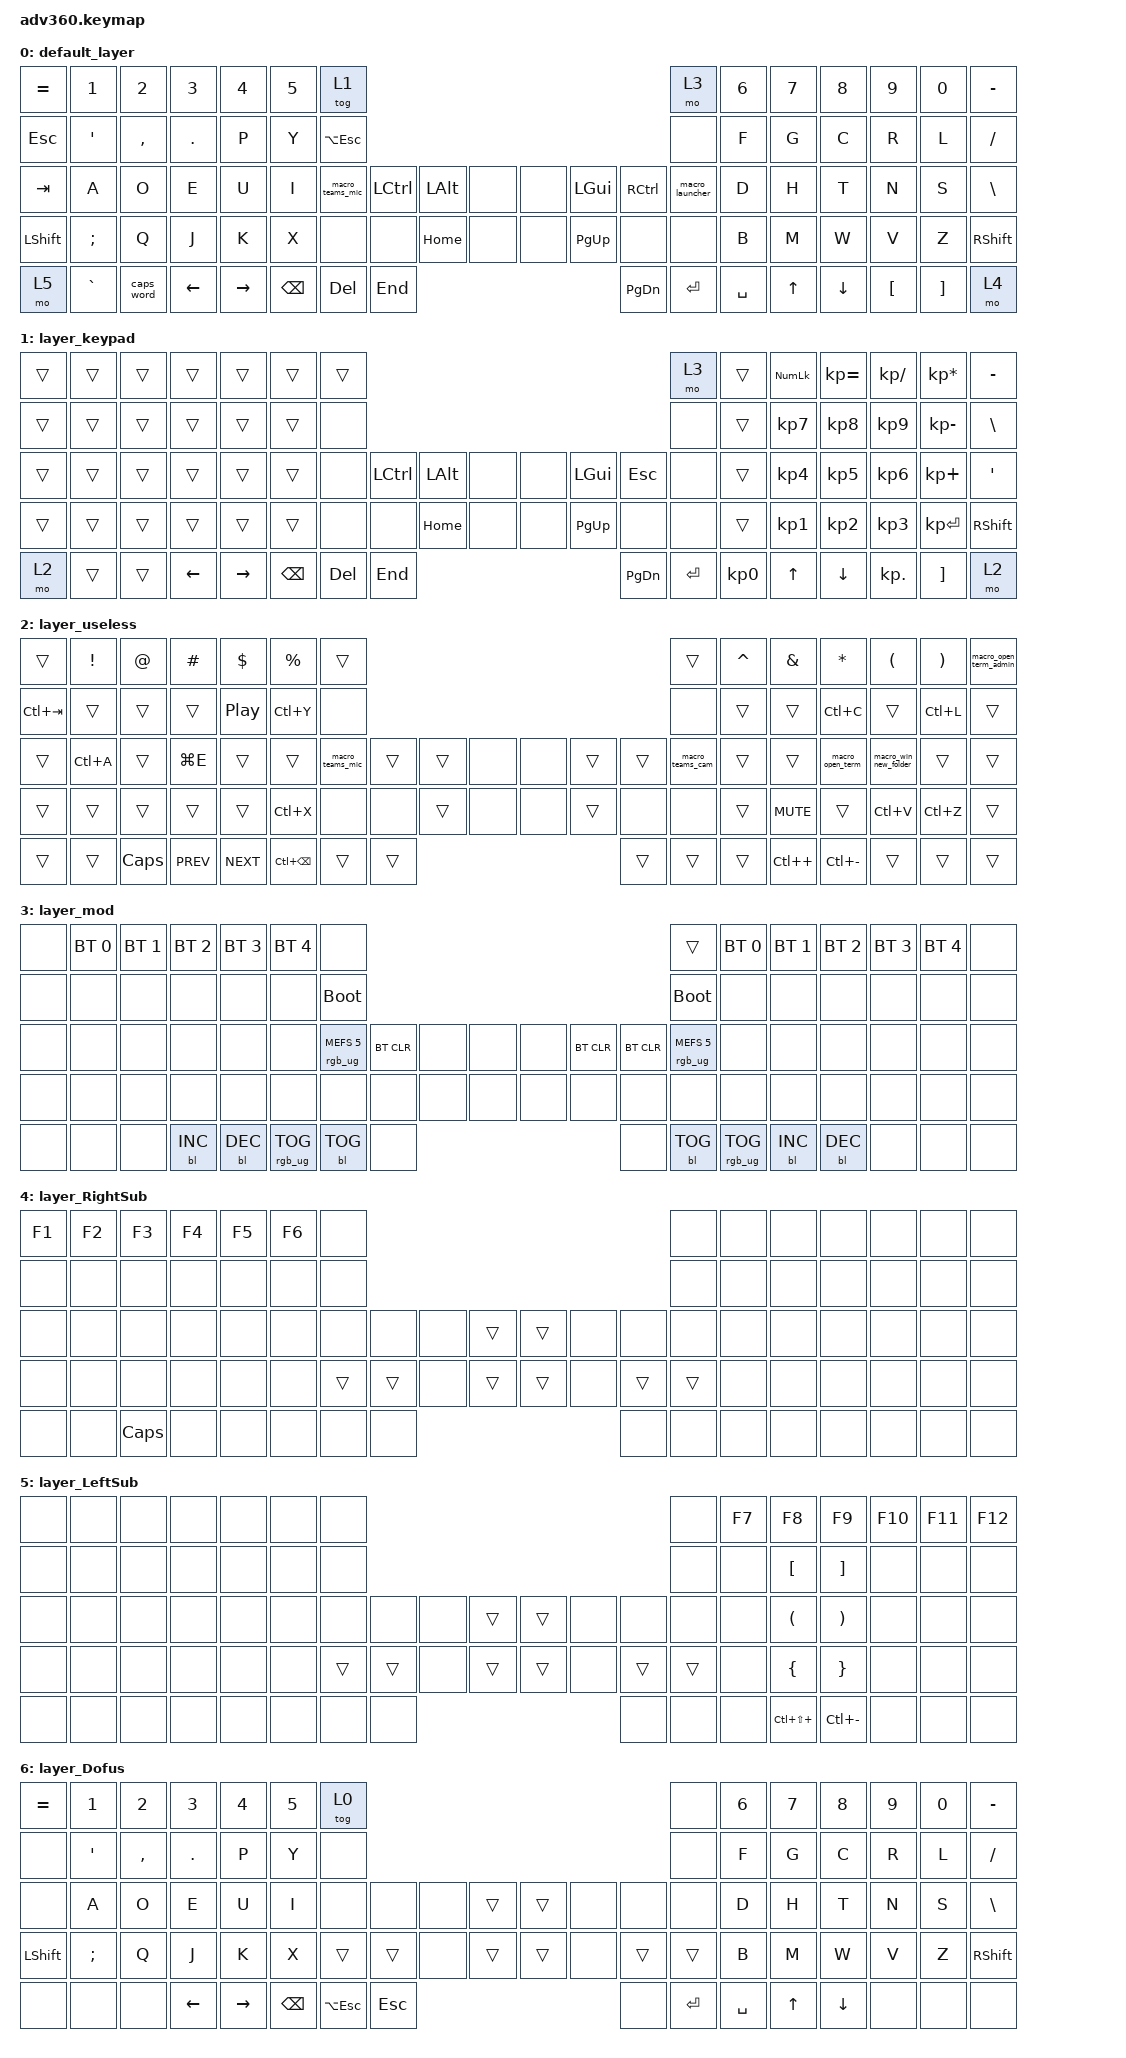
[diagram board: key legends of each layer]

/*
 * Copyright (c) 2020 The ZMK Contributors
 *
 * SPDX-License-Identifier: MIT
 */


/* THIS FILE WAS GENERATED!
 *
 * This file was generated automatically. You may or may not want to
 * edit it directly.
 */

#include <behaviors.dtsi>
#include <dt-bindings/zmk/keys.h>
#include <dt-bindings/zmk/bt.h>
#include <dt-bindings/zmk/rgb.h>
#include <dt-bindings/zmk/backlight.h>

/ {
  behaviors {
    #include "macros.dtsi"

    hm: homerow_mods {
        compatible = "zmk,behavior-hold-tap";
        label = "HOMEROW_MODS";
        #binding-cells = <2>;
        tapping-term-ms = <200>;
        quick_tap_ms = <175>;
        flavor = "tap-preferred";
        bindings = <&kp>, <&kp>;
    };
  };

    keymap {
        compatible = "zmk,keymap";


        default_layer {
            bindings = <
 &kp EQUAL            &kp N1      &kp N2    &kp N3     &kp N4  &kp N5                      &tog 1                                                                           &mo 3  &kp N6  &kp N7    &kp N8    &kp N9    &kp N0      &kp MINUS
   &kp ESC  &kp SINGLE_QUOTE   &kp COMMA   &kp DOT      &kp P   &kp Y                 &kp LA(ESC)                                                                           &none   &kp F   &kp G     &kp C     &kp R     &kp L      &kp SLASH
   &kp TAB             &kp A       &kp O     &kp E      &kp U   &kp I            &macro_teams_mic  &kp LCTRL  &kp LALT   &none   &none       &kp LGUI  &kp RCTRL  &macro_launcher   &kp D   &kp H     &kp T     &kp N     &kp S  &kp BACKSLASH
 &kp LSHFT     &kp SEMICOLON       &kp Q     &kp J      &kp K   &kp X                       &none      &none  &kp HOME   &none   &none    &kp PAGE_UP      &none            &none   &kp B   &kp M     &kp W     &kp V     &kp Z     &kp RSHIFT
     &mo 5         &kp GRAVE  &caps_word  &kp LEFT  &kp RIGHT                            &kp BSPC    &kp DEL   &kp END                  &kp PAGE_DOWN  &kp ENTER        &kp SPACE          &kp UP  &kp DOWN  &kp LBKT  &kp RBKT          &mo 4
            >;
        };

        layer_keypad {
            bindings = <
 &trans  &trans  &trans    &trans     &trans  &trans              &trans                                                                 &mo 3  &trans  &kp KP_NUM  &kp KP_EQUAL  &kp KP_DIVIDE  &kp KP_MULTIPLY  &kp MINUS
 &trans  &trans  &trans    &trans     &trans  &trans               &none                                                                 &none  &trans   &kp KP_N7     &kp KP_N8      &kp KP_N9     &kp KP_MINUS   &kp BSLH
 &trans  &trans  &trans    &trans     &trans  &trans               &none  &kp LCTRL  &kp LALT   &none   &none   &kp LGUI    &kp ESC      &none  &trans   &kp KP_N4     &kp KP_N5      &kp KP_N6      &kp KP_PLUS    &kp SQT
 &trans  &trans  &trans    &trans     &trans  &trans               &none      &none  &kp HOME   &none   &none  &kp PG_UP      &none      &none  &trans   &kp KP_N1     &kp KP_N2      &kp KP_N3     &kp KP_ENTER  &kp RSHFT
  &mo 2  &trans  &trans  &kp LEFT  &kp RIGHT                    &kp BSPC    &kp DEL   &kp END                  &kp PG_DN  &kp ENTER  &kp KP_N0              &kp UP      &kp DOWN     &kp KP_DOT         &kp RBKT      &mo 2
            >;
        };

        layer_useless {
            bindings = <
      &trans   &kp EXCL        &kp AT    &kp HASH  &kp DOLLAR  &kp PERCENT                       &trans                                                            &trans  &kp CARET      &kp AMPS          &kp STAR   &kp LEFT_PARENTHESIS  &kp RIGHT_PARENTHESIS  &macro_open_term_admin
 &kp LC(TAB)     &trans        &trans      &trans    &kp C_PP    &kp LC(Y)                        &none                                                             &none     &trans        &trans         &kp LC(C)                 &trans              &kp LC(L)                  &trans
      &trans  &kp LC(A)        &trans   &kp LG(E)      &trans       &trans             &macro_teams_mic  &trans  &trans   &none   &none  &trans  &trans  &macro_teams_cam     &trans        &trans  &macro_open_term  &macro_win_new_folder                 &trans                  &trans
      &trans     &trans        &trans      &trans      &trans    &kp LC(X)                        &none   &none  &trans   &none   &none  &trans   &none             &none     &trans    &kp C_MUTE            &trans              &kp LC(V)              &kp LC(Z)                  &trans
      &trans     &trans  &kp CAPSLOCK  &kp C_PREV  &kp C_NEXT                         &kp LC(BACKSPACE)  &trans  &trans                  &trans  &trans            &trans             &kp LC(PLUS)     &kp LC(MINUS)                 &trans                 &trans                  &trans
            >;
        };

        layer_mod {
            bindings = <
  &none  &bt BT_SEL 0  &bt BT_SEL 1  &bt BT_SEL 2  &bt BT_SEL 3  &bt BT_SEL 4                             &none                                                                              &trans  &bt BT_SEL 0  &bt BT_SEL 1  &bt BT_SEL 2  &bt BT_SEL 3  &bt BT_SEL 4   &none
  &none         &none         &none         &none         &none         &none                       &bootloader                                                                         &bootloader         &none         &none         &none         &none         &none   &none
  &none         &none         &none         &none         &none         &none            &rgb_ug RGB_MEFS_CMD 5  &bt BT_CLR   &none   &none   &none  &bt BT_CLR  &bt BT_CLR  &rgb_ug RGB_MEFS_CMD 5         &none         &none         &none         &none         &none   &none
  &none         &none         &none         &none         &none         &none                             &none       &none   &none   &none   &none       &none       &none                   &none         &none         &none         &none         &none         &none   &none
  &none         &none         &none    &bl BL_INC    &bl BL_DEC                                 &rgb_ug RGB_TOG  &bl BL_TOG   &none                       &none  &bl BL_TOG         &rgb_ug RGB_TOG                  &bl BL_INC    &bl BL_DEC         &none         &none   &none
            >;
        };

        layer_RightSub {
            bindings = <
 &kp F1  &kp F2        &kp F3  &kp F4  &kp F5  &kp F6             &none                                                   &none   &none   &none   &none   &none   &none   &none
  &none   &none         &none   &none   &none   &none             &none                                                   &none   &none   &none   &none   &none   &none   &none
  &none   &none         &none   &none   &none   &none             &none   &none   &none  &trans  &trans   &none   &none   &none   &none   &none   &none   &none   &none   &none
  &none   &none         &none   &none   &none   &none            &trans  &trans   &none  &trans  &trans   &none  &trans  &trans   &none   &none   &none   &none   &none   &none
  &none   &none  &kp CAPSLOCK   &none   &none                     &none   &none   &none                   &none   &none   &none           &none   &none   &none   &none   &none
            >;
        };

        layer_LeftSub {
            bindings = <
  &none   &none   &none   &none   &none   &none             &none                                                   &none  &kp F7                &kp F8                 &kp F9  &kp F10  &kp F11  &kp F12
  &none   &none   &none   &none   &none   &none             &none                                                   &none   &none      &kp LEFT_BRACKET      &kp RIGHT_BRACKET    &none    &none    &none
  &none   &none   &none   &none   &none   &none             &none   &none   &none  &trans  &trans   &none   &none   &none   &none  &kp LEFT_PARENTHESIS  &kp RIGHT_PARENTHESIS    &none    &none    &none
  &none   &none   &none   &none   &none   &none            &trans  &trans   &none  &trans  &trans   &none  &trans  &trans   &none        &kp LEFT_BRACE        &kp RIGHT_BRACE    &none    &none    &none
  &none   &none   &none   &none   &none                     &none   &none   &none                   &none   &none   &none              &kp LC(LS(PLUS))          &kp LC(MINUS)    &none    &none    &none
            >;
        };

        layer_Dofus {
            bindings = <
      &kp EQUAL  &kp NUMBER_1  &kp NUMBER_2    &kp NUMBER_3     &kp NUMBER_4  &kp NUMBER_5                   &tog 0                                                               &none  &kp NUMBER_6  &kp NUMBER_7          &kp N8  &kp N9  &kp N0        &kp MINUS
          &none      &kp APOS     &kp COMMA         &kp DOT            &kp P         &kp Y                    &none                                                               &none         &kp F         &kp G           &kp C   &kp R   &kp L        &kp SLASH
          &none         &kp A         &kp O           &kp E            &kp U         &kp I                    &none        &none    &none  &trans  &trans   &none      &none      &none         &kp D         &kp H           &kp T   &kp N   &kp S    &kp BACKSLASH
 &kp LEFT_SHIFT      &kp SEMI         &kp Q           &kp J            &kp K         &kp X                   &trans       &trans    &none  &trans  &trans   &none     &trans     &trans         &kp B         &kp M           &kp W   &kp V   &kp Z  &kp RIGHT_SHIFT
          &none         &none         &none  &kp LEFT_ARROW  &kp RIGHT_ARROW                          &kp BACKSPACE  &kp LA(ESC)  &kp ESC                   &none  &kp ENTER  &kp SPACE                &kp UP_ARROW  &kp DOWN_ARROW   &none   &none            &none
            >;
        };

    };
};
